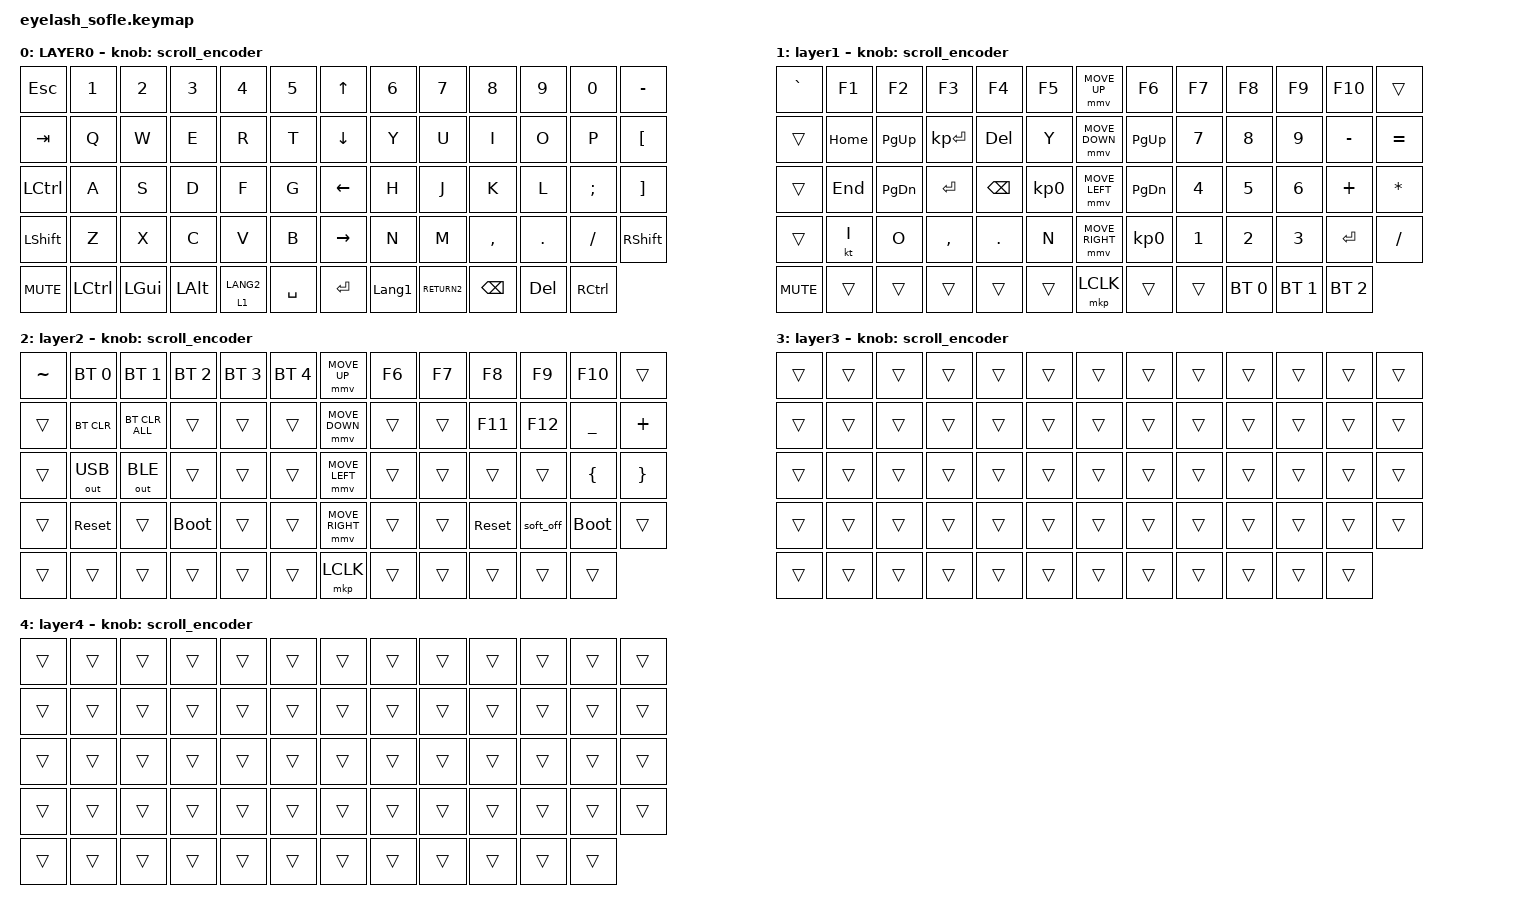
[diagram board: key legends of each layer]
#define ZMK_POINTING_DEFAULT_MOVE_VAL 1200  // 600
#define ZMK_POINTING_DEFAULT_SCRL_VAL 25   // 10

#include <input/processors.dtsi>
#include <zephyr/dt-bindings/input/input-event-codes.h>
#include <behaviors.dtsi>
#include <dt-bindings/zmk/bt.h>
#include <dt-bindings/zmk/keys.h>
#include <dt-bindings/zmk/outputs.h>
#include <dt-bindings/zmk/pointing.h>

&mmv_input_listener { input-processors = <&zip_xy_scaler 2 1>; };

&msc_input_listener { input-processors = <&zip_scroll_scaler 2 1>; };

&msc {
    acceleration-exponent = <1>;      // 0
    time-to-max-speed-ms = <100>;       // 300
    delay-ms = <0>;                   // 0
};

&mmv {
    time-to-max-speed-ms = <500>;
    acceleration-exponent = <1>;
    trigger-period-ms = <16>;
};

&soft_off { hold-time-ms = <2000>; };

/ {
    scroll_encoder: scroll_encoder {
        compatible = "zmk,behavior-sensor-rotate";
        #sensor-binding-cells = <0>;
        bindings = <&msc SCRL_DOWN>, <&msc SCRL_UP>;

        tap-ms = <100>;
    };

    behaviors {
    };

    combos {
        compatible = "zmk,combos";

        softoff {
            bindings = <&soft_off>;
            key-positions = <14 28 40>;
        };
    };

    keymap {
        compatible = "zmk,keymap";

        layer0 {
            bindings = <
&kp ESC     &kp N1     &kp N2        &kp N3        &kp N4       &kp N5       &kp UP_ARROW     &kp N6          &kp N7       &kp N8         &kp N9      &kp N0     &kp MINUS
&kp TAB     &kp Q      &kp W         &kp E         &kp R        &kp T        &kp DOWN_ARROW   &kp Y           &kp U        &kp I          &kp O       &kp P      &kp LEFT_BRACKET
&kp LCTRL   &kp A      &kp S         &kp D         &kp F        &kp G        &kp LEFT_ARROW   &kp H           &kp J        &kp K          &kp L       &kp SEMI   &kp RIGHT_BRACKET
&kp LSHFT   &kp Z      &kp X         &kp C         &kp V        &kp B        &kp RIGHT_ARROW  &kp N           &kp M        &kp COMMA      &kp DOT     &kp FSLH   &kp RIGHT_SHIFT
&kp C_MUTE  &kp LCTRL  &kp LEFT_GUI  &kp LEFT_ALT  &lt 1 LANG2  &kp SPACE    &kp ENTER        &kp LANGUAGE_1  &kp RETURN2  &kp BACKSPACE  &kp DELETE  &kp RCTRL
            >;

            sensor-bindings = <&scroll_encoder>;
            display-name = "LAYER0";
        };

        layer_1 {
            bindings = <
&kp GRAVE   &kp F1    &kp F2         &kp F3        &kp F4         &kp F5             &mmv MOVE_UP     &kp F6           &kp F7        &kp F8        &kp F9        &kp F10       &trans
&trans      &kp HOME  &kp PAGE_UP    &kp KP_ENTER  &kp DELETE     &kp Y              &mmv MOVE_DOWN   &kp PG_UP        &kp N7        &kp N8        &kp N9        &kp MINUS     &kp EQUAL
&trans      &kp END   &kp PAGE_DOWN  &kp ENTER     &kp BACKSPACE  &kp KP_NUMBER_0    &mmv MOVE_LEFT   &kp PG_DN        &kp NUMBER_4  &kp N5        &kp NUMBER_6  &kp PLUS      &kp ASTERISK
&trans      &kt I     &kp O          &kp COMMA     &kp PERIOD     &kp N              &mmv MOVE_RIGHT  &kp KP_NUMBER_0  &kp NUMBER_1  &kp NUMBER_2  &kp NUMBER_3  &kp ENTER     &kp SLASH
&kp C_MUTE  &trans    &trans         &trans        &trans         &trans             &mkp LCLK        &trans           &trans        &bt BT_SEL 0  &bt BT_SEL 1  &bt BT_SEL 2
            >;

            display-name = "layer1";
            sensor-bindings = <&scroll_encoder>;
        };

        layer_2 {
            bindings = <
&kp TILDE  &bt BT_SEL 0  &bt BT_SEL 1    &bt BT_SEL 2  &bt BT_SEL 3  &bt BT_SEL 4    &mmv MOVE_UP     &kp F6  &kp F7  &kp F8      &kp F9     &kp F10      &trans
&trans     &bt BT_CLR    &bt BT_CLR_ALL  &trans        &trans        &trans          &mmv MOVE_DOWN   &trans  &trans  &kp F11     &kp F12    &kp UNDER    &kp PLUS
&trans     &out OUT_USB  &out OUT_BLE    &trans        &trans        &trans          &mmv MOVE_LEFT   &trans  &trans  &trans      &trans     &kp LBRC     &kp RBRC
&trans     &sys_reset    &trans          &bootloader   &trans        &trans          &mmv MOVE_RIGHT  &trans  &trans  &sys_reset  &soft_off  &bootloader  &trans
&trans     &trans        &trans          &trans        &trans        &trans          &mkp LCLK        &trans  &trans  &trans      &trans     &trans
            >;

            display-name = "layer2";
            sensor-bindings = <&scroll_encoder>;
        };

        layer_3 {
            bindings = <
&trans  &trans  &trans  &trans  &trans  &trans    &trans  &trans  &trans  &trans  &trans  &trans  &trans
&trans  &trans  &trans  &trans  &trans  &trans    &trans  &trans  &trans  &trans  &trans  &trans  &trans
&trans  &trans  &trans  &trans  &trans  &trans    &trans  &trans  &trans  &trans  &trans  &trans  &trans
&trans  &trans  &trans  &trans  &trans  &trans    &trans  &trans  &trans  &trans  &trans  &trans  &trans
&trans  &trans  &trans  &trans  &trans  &trans    &trans  &trans  &trans  &trans  &trans  &trans
            >;

            display-name = "layer3";
            sensor-bindings = <&scroll_encoder>;
        };

        layer_4 {
            bindings = <
&trans  &trans  &trans  &trans  &trans  &trans    &trans  &trans  &trans  &trans  &trans  &trans  &trans
&trans  &trans  &trans  &trans  &trans  &trans    &trans  &trans  &trans  &trans  &trans  &trans  &trans
&trans  &trans  &trans  &trans  &trans  &trans    &trans  &trans  &trans  &trans  &trans  &trans  &trans
&trans  &trans  &trans  &trans  &trans  &trans    &trans  &trans  &trans  &trans  &trans  &trans  &trans
&trans  &trans  &trans  &trans  &trans  &trans    &trans  &trans  &trans  &trans  &trans  &trans
            >;

            display-name = "layer4";
            sensor-bindings = <&scroll_encoder>;
        };
    };
};
